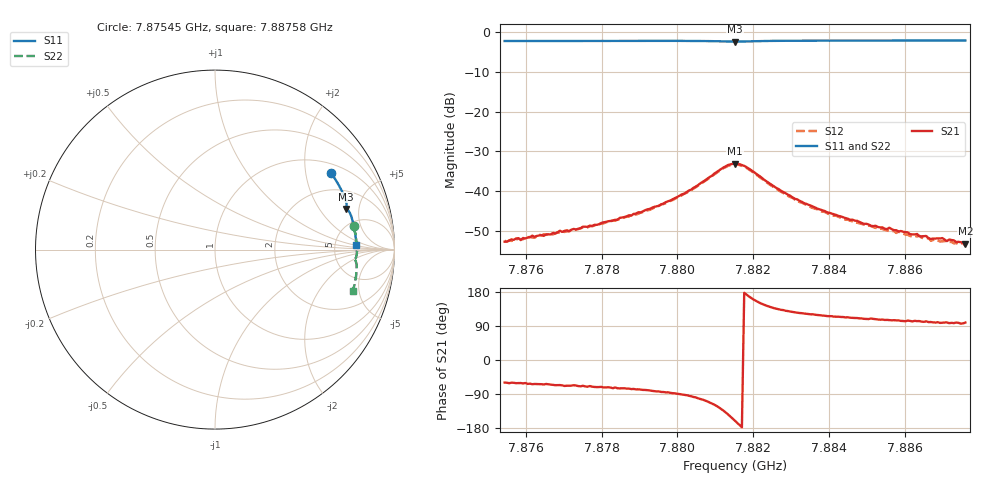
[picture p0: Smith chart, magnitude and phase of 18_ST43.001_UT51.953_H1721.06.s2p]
#  HZ  S  DB  R  50.00
! Rohde & Schwarz Vector Network Analyzer
! Rohde-Schwarz,ZNB20-2Port,1311601062101988,3.16
! Created: UTC 1/12/2023, 6:30:25 PM
! freq[Hz]  db:S11  ang:S11  db:S21  ang:S21  db:S12  ang:S12  db:S22  ang:S22
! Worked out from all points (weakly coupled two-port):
!   201 points, 7.87545 GHz to 7.88758 GHz, reference 50 ohm
!   highest |S21| = -33.11 dB at 7.88151 GHz (marker M1); lowest = -53.3 dB at 7.88758 GHz (marker M2)
!   lowest |S11| = -2.4 dB at 7.88151 GHz (marker M3), VSWR 7.41, Z = 167 + j180 ohm
!   |S11| at or under -10 dB: nowhere
!   |S22| runs from -2.2 to -1.9 dB; largest |S21 - S12| = 0.0014
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7.875448e9  -2.22 33.3  -52.81 -59.5  -52.55 -62.5  -2.13 9.5
7.876237e9  -2.20 31.2  -51.54 -63.3  -51.82 -65.7  -2.10 7.7
7.876358e9  -2.21 30.9  -51.21 -63.4  -51.02 -65.5  -2.10 7.4
7.876722e9  -2.20 29.9  -50.58 -65.6  -50.94 -68.1  -2.09 6.5
7.877511e9  -2.19 27.7  -49.01 -68.0  -49.23 -71.5  -2.07 4.7
7.87842e9  -2.18 25.2  -47.26 -74.7  -47.25 -76.4  -2.05 2.6
7.879512e9  -2.17 22.2  -43.73 -82.9  -43.76 -86.4  -2.04 0.0
7.880361e9  -2.20 19.8  -39.67 -95.8  -39.83 -99.7  -2.05 -2.1
7.88121e9  -2.31 17.5  -34.09 -133.7  -34.25 -136.8  -2.17 -4.0
7.881514e9  -2.36 17.3  -33.11 -160.3  -33.34 -163.8  -2.23 -4.1
7.881817e9  -2.31 17.1  -34.00 172.6  -34.21 169.1  -2.18 -4.1
7.882727e9  -2.16 14.8  -39.97 132.4  -40.23 129.2  -2.02 -6.0
7.883576e9  -2.12 12.4  -43.99 120.5  -44.34 116.4  -1.98 -8.0
7.885092e9  -2.10 8.3  -48.77 109.7  -48.86 105.7  -1.94 -11.4
7.885578e9  -2.09 7.0  -49.27 105.3  -50.15 103.1  -1.94 -12.5
7.886366e9  -2.08 5.0  -51.43 102.7  -51.27 99.2  -1.93 -14.2
7.886669e9  -2.08 4.2  -52.10 100.3  -52.54 97.7  -1.92 -14.9
7.886973e9  -2.08 3.4  -51.87 98.3  -52.69 96.1  -1.91 -15.5
7.887094e9  -2.07 3.1  -52.63 99.0  -52.59 94.1  -1.92 -15.8
7.887397e9  -2.07 2.3  -52.83 98.1  -53.48 96.7  -1.92 -16.4
7.887518e9  -2.07 2.0  -53.04 96.7  -53.17 92.5  -1.92 -16.7
7.887579e9  -2.07 1.8  -53.29 98.7  -53.92 96.0  -1.91 -16.9
